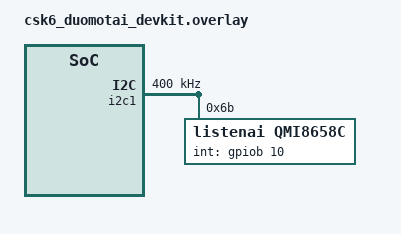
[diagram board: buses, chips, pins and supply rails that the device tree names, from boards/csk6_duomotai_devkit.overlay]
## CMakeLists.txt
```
# SPDX-License-Identifier: Apache-2.0

cmake_minimum_required(VERSION 3.20.0)
set(SUPPORT_BOARDS csk6_duomotai_devkit)
if(NOT ${BOARD} IN_LIST SUPPORT_BOARDS)
    message("Please choose one of the following boards:")
    foreach(item ${SUPPORT_BOARDS})
        message(STATUS ${item})
    endforeach()
    message(FATAL_ERROR "\nThe project does not support the ${BOARD}")
endif()
find_package(Zephyr REQUIRED HINTS $ENV{ZEPHYR_BASE})
project(qmi8658c)

target_sources(app PRIVATE src/main.c)
```

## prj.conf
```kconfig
CONFIG_STDOUT_CONSOLE=y
CONFIG_I2C=y
CONFIG_GPIO=y
CONFIG_SENSOR=y
CONFIG_QMI8658C=y

CONFIG_QMI8658C_TRIGGER=n

CONFIG_CBPRINTF_FP_SUPPORT=y
```

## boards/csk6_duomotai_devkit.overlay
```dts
/*
 * Copyright (c) 2025 Anhui Listenai Co., Ltd.
 *
 * SPDX-License-Identifier: Apache-2.0
 */

&pinctrl {
    pinctrl_i2c1_scl_default: i2c1_scl_default {
        pinctrls = <I2C1_SCL_GPIOB_09>;
    };

    pinctrl_i2c1_sda_default: i2c1_sda_default {
        pinctrls = <I2C1_SDA_GPIOB_08>;
    };
};

/ {
    aliases {
        qmi8658c = &qmi8658c;
    };
};

&i2c1 {
    status = "okay";
    pinctrl-0 = <&pinctrl_i2c1_scl_default &pinctrl_i2c1_sda_default>;
    pinctrl-names = "default";
    clock-frequency = <400000>;

    qmi8658c: qmi8658c@6b {
        compatible = "listenai,qmi8658c";
        reg = <0x6b>;
        status = "okay";
        int-gpios = <&gpiob 10 GPIO_ACTIVE_HIGH>;
    };
};
```

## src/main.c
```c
/*
 * Copyright (c) 2025 Anhui Listenai Co., Ltd.
 *
 * SPDX-License-Identifier: Apache-2.0
 */

#include <math.h>

#include <zephyr/drivers/i2c.h>
#include <zephyr/drivers/sensor.h>
#include <zephyr/kernel.h>
#include <zephyr/sys/printk.h>

#define SLEEP_TIME_MS	      1000
#define QMI8658C_I2C_ADDR     0x6B
#define QMI8658C_WHO_AM_I_REG 0x00
#define QMI8658C_WHO_AM_I_VAL 0x05
#define QMI8658C_CTRL1	      0x02
#define QMI8658C_CTRL7	      0x08
#define QMI8658C_CTRL8	      0x09

static int process_qmi8658c(const struct device *dev)
{
	struct sensor_value accel[3], gyro[3], temperature;
	int rc;

	rc = sensor_sample_fetch(dev);
	if (rc != 0) {
		printk("sensor_sample_fetch failed: %d\n", rc);
		return rc;
	}

	rc = sensor_channel_get(dev, SENSOR_CHAN_ACCEL_XYZ, accel);
	if (rc != 0) {
		printk("Failed to get acceleration data: %d\n", rc);
		return rc;
	}

	rc = sensor_channel_get(dev, SENSOR_CHAN_GYRO_XYZ, gyro);
	if (rc != 0) {
		printk("Failed to get gyro data: %d\n", rc);
		return rc;
	}

	rc = sensor_channel_get(dev, SENSOR_CHAN_DIE_TEMP, &temperature);
	if (rc != 0) {
		printk("Failed to get temperature data: %d\n", rc);
		return rc;
	}

	printk("\nTemperature: %.2f °C\n",
	       (double)temperature.val1 + (double)temperature.val2 / 1000000.0);
	printk("Accel (m/s^2): X=%.2f, Y=%.2f, Z=%.2f\n",
	       (double)accel[0].val1 + (double)accel[0].val2 / 1000000.0,
	       (double)accel[1].val1 + (double)accel[1].val2 / 1000000.0,
	       (double)accel[2].val1 + (double)accel[2].val2 / 1000000.0);
	printk("Gyro (rad/s): X=%.2f, Y=%.2f, Z=%.2f\n",
	       (double)gyro[0].val1 + (double)gyro[0].val2 / 1000000.0,
	       (double)gyro[1].val1 + (double)gyro[1].val2 / 1000000.0,
	       (double)gyro[2].val1 + (double)gyro[2].val2 / 1000000.0);

	return 0;
}

int main(void)
{
	const struct device *dev = DEVICE_DT_GET(DT_NODELABEL(qmi8658c));
	uint32_t cnt = 0;
	int ret;

	printk("QMI8658C Sample start\n");

	if (!device_is_ready(dev)) {
		printk("QMI8658C device not found\n");
		return -1;
	}

	k_msleep(200);

	while (1) {
		cnt++;
		printk("\n----- QMI8658C Round %d -----\n", cnt);

		ret = process_qmi8658c(dev);
		if (ret != 0) {
			printk("Failed to process sensor data\n");
			continue;
		}

		k_msleep(SLEEP_TIME_MS);
	}

	return 0;
}
```
